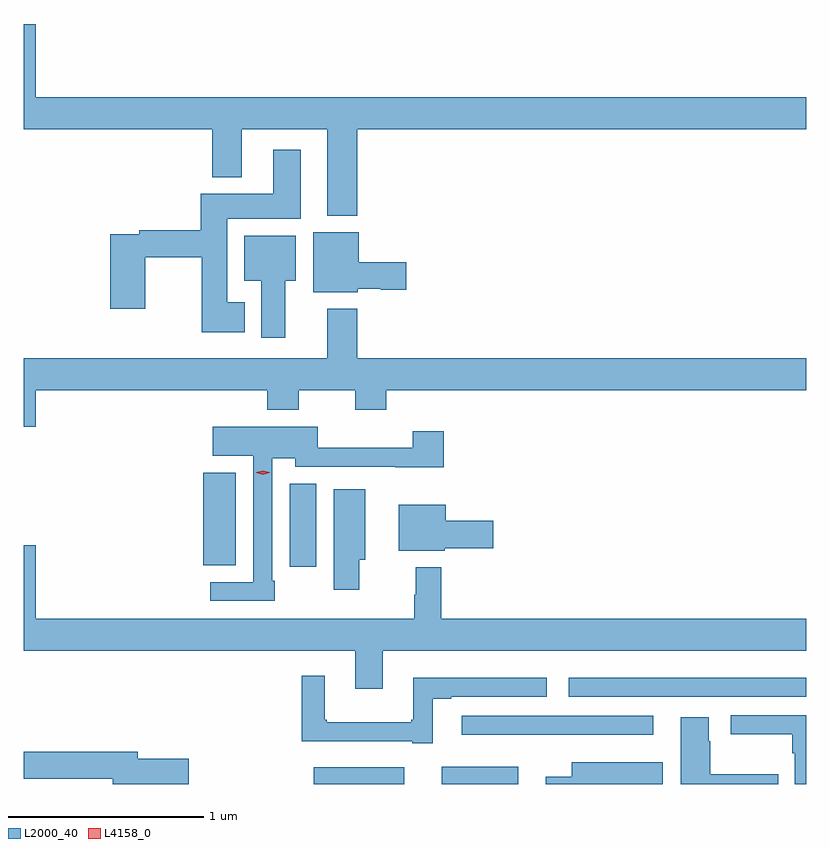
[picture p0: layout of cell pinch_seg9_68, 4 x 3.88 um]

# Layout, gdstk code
import gdstk
lib = gdstk.Library(unit=1e-6, precision=1e-09)
def R(c, l, rs):  # rectangles x0, y0, x1, y1
    for r in rs: c.add(gdstk.rectangle(r[:2], r[2:], *l))
def P(c, l, *ps):  # polygons
    for p in ps: c.add(gdstk.Polygon(p, *l))
L2000_40 = (2000, 40)
L4158_0 = (4158, 0)

pinch_seg9_68 = lib.new_cell('pinch_seg9_68')
R(pinch_seg9_68, L2000_40, [(981.776,1195.74,982.24,1195.825), (982.43,1195.74,982.822,1195.828), (982.533,1195.991,983.512,1196.088), (983.079,1196.187,984.294,1196.284), (981.653,1196.85,981.79,1197.275), (981.212,1196.857,981.379,1197.331)])
P(pinch_seg9_68, L2000_40, [(981.998,1199.084),(984.294,1199.084),(984.294,1199.248),(980.356,1199.248),(980.356,1199.623),(980.294,1199.623),(980.294,1199.084),(981.257,1199.084),(981.257,1198.841),(981.409,1198.841),(981.409,1199.084),(981.845,1199.084),(981.845,1198.643),(981.998,1198.643)],
  [(981.424,1198.201),(981.334,1198.201),(981.334,1198.628),(981.709,1198.628),(981.709,1198.981),(981.569,1198.981),(981.569,1198.756),(981.2,1198.756),(981.2,1198.568),(980.884,1198.568),(980.884,1198.548),(980.738,1198.548),(980.738,1198.167),(980.916,1198.167),(980.916,1198.432),(981.205,1198.432),(981.205,1198.049),(981.424,1198.049)],
  [(982.002,1198.271),(982.119,1198.271),(982.119,1198.264),(982.249,1198.264),(982.249,1198.406),(982.006,1198.406),(982.006,1198.558),(981.773,1198.558),(981.773,1198.253),(982.002,1198.253)],
  [(981.631,1198.31),(981.685,1198.31),(981.685,1198.54),(981.422,1198.54),(981.422,1198.31),(981.509,1198.31),(981.509,1198.02),(981.631,1198.02)],
  [(980.356,1197.752),(981.539,1197.752),(981.539,1197.653),(981.699,1197.653),(981.699,1197.752),(981.988,1197.752),(981.988,1197.653),(982.148,1197.653),(982.148,1197.752),(984.294,1197.752),(984.294,1197.916),(981.998,1197.916),(981.998,1198.168),(981.845,1198.168),(981.845,1197.916),(980.294,1197.916),(980.294,1197.564),(980.356,1197.564)],
  [(981.577,1196.779),(981.564,1196.779),(981.564,1197.404),(981.683,1197.404),(981.683,1197.36),(982.193,1197.36),(982.193,1197.359),(982.442,1197.359),(982.442,1197.541),(982.282,1197.541),(982.282,1197.458),(981.796,1197.458),(981.796,1197.565),(981.261,1197.565),(981.261,1197.416),(981.468,1197.416),(981.468,1196.772),(981.249,1196.772),(981.249,1196.676),(981.577,1196.676)],
  [(982.008,1196.885),(982.039,1196.885),(982.039,1197.247),(981.878,1197.247),(981.878,1196.733),(982.008,1196.733)],
  [(982.446,1196.944),(982.693,1196.944),(982.693,1197.086),(982.45,1197.086),(982.45,1197.166),(982.211,1197.166),(982.211,1196.933),(982.446,1196.933)],
  [(984.294,1196.584),(982.427,1196.584),(982.427,1196.848),(982.299,1196.848),(982.299,1196.708),(982.291,1196.708),(982.291,1196.584),(980.356,1196.584),(980.356,1196.959),(980.294,1196.959),(980.294,1196.42),(981.989,1196.42),(981.989,1196.226),(982.129,1196.226),(982.129,1196.42),(984.294,1196.42)],
  [(982.384,1196.175),(982.48,1196.175),(982.48,1196.187),(982.966,1196.187),(982.966,1196.284),(982.286,1196.284),(982.286,1196.068),(982.275,1196.068),(982.275,1196.056),(981.844,1196.056),(981.844,1196.068),(981.832,1196.068),(981.832,1196.293),(981.715,1196.293),(981.715,1195.958),(982.28,1195.958),(982.28,1195.947),(982.384,1195.947)],
  [(984.294,1196.091),(983.907,1196.091),(983.907,1195.994),(984.222,1195.994),(984.222,1195.898),(984.234,1195.898),(984.234,1195.74),(984.294,1195.74)],
  [(984.149,1195.79),(983.802,1195.79),(983.802,1195.958),(983.794,1195.958),(983.794,1196.08),(983.651,1196.08),(983.651,1195.74),(984.149,1195.74)],
  [(981.139,1195.868),(980.878,1195.868),(980.878,1195.904),(980.294,1195.904),(980.294,1195.768),(980.75,1195.768),(980.75,1195.74),(981.139,1195.74)],
  [(983.56,1195.852),(983.096,1195.852),(983.096,1195.777),(982.962,1195.777),(982.962,1195.74),(983.56,1195.74)])
P(pinch_seg9_68, L4158_0, [(981.517,1197.321),(981.482,1197.331),(981.482,1197.331),(981.482,1197.332),(981.517,1197.341),(981.552,1197.332),(981.552,1197.331),(981.552,1197.331)])

lib.write_gds('pinch_seg9_68.gds')
